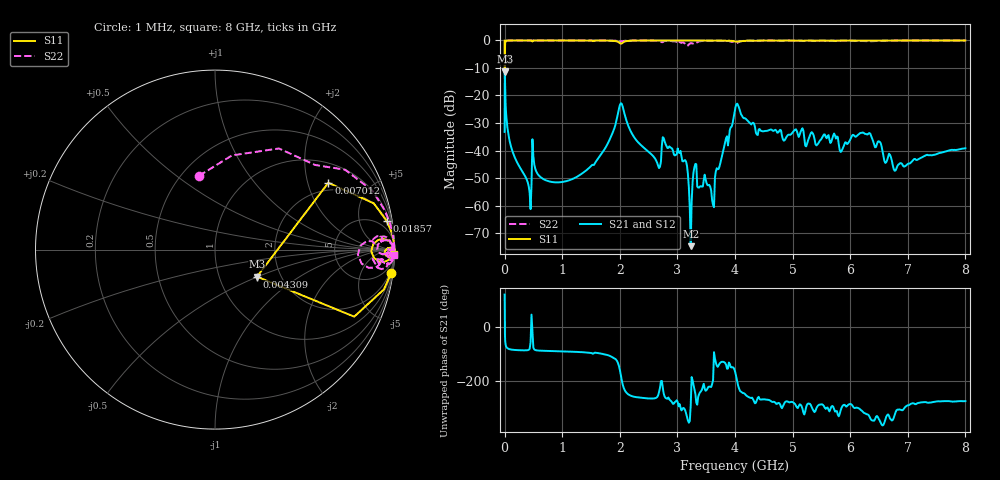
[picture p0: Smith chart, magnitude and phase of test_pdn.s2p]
# HZ S  RI R 1.000000e-01
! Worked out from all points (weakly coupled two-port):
!   500 points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, 1 MHz to 8 GHz, reference 0.1 ohm
!   highest |S21| = -11.52 dB at 4.309 MHz (marker M1); lowest = -74.8 dB at 3.232 GHz (marker M2)
!   lowest |S11| = -11.1 dB at 4.309 MHz (marker M3), VSWR 1.77, Z = 0.151 - j0.0496 ohm
!   |S11| at or under -10 dB: 4.122 MHz to 4.663 MHz (541.1 kHz wide, 12.3 % of centre)
!   |S22| runs from -7.5 to 0.0 dB; largest |S21 - S12| = 0
!   S11 on the Smith chart (normalised r, x): 1 MHz: 1, -15; 4.309 MHz: 1.51, -0.50; 7.012 MHz: 1.69, +2.71; 18.57 MHz: 2, +12; 8 GHz: 6, -85
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1000000  0.9813 -0.1306  -0.0108 0.0188  -0.0108 0.0188  -0.0887 0.4111
4308869  0.234 -0.1511  0.2138 0.1574  0.2138 0.1574  0.5573 0.4717
7011610  0.6315 0.3723  0.1753 -0.0925  0.1753 -0.0925  0.7254 0.4448
1.856636e7  0.9564 0.16  0.0267 -0.0625  0.0267 -0.0625  0.9465 0.2177
1.123265e8  0.9981 0.0266  0.00114 -0.0117  0.00114 -0.0117  0.9977 0.0379
4.355918e8  0.9993 -0.000603  0.00024 -0.00169  0.00024 -0.00169  0.9997 0.00427
5.164082e8  0.9986 0.00839  0.000556 -0.00552  0.000556 -0.00552  0.9995 0.00329
7.588571e8  0.9997 -0.00147  1.3e-05 -0.00278  1.3e-05 -0.00278  0.9997 -0.00348
1.340735e9  0.999 -0.0129  -0.000269 -0.00379  -0.000269 -0.00379  0.9993 -0.0151
2.019592e9  0.8703 -0.0087  -0.0726 0.000806  -0.0726 0.000806  0.9576 -0.0272
2.682286e9  0.9985 -0.0013  -0.00224 0.00424  -0.00224 0.00424  0.9725 -0.0781
2.763102e9  0.9969 -0.000842  -0.0062 0.0156  -0.0062 0.0156  0.9616 -0.0187
3.037878e9  0.9988 -0.00619  0.00261 0.00862  0.00261 0.00862  0.9374 -0.0562
3.15102e9  0.9989 -0.00791  0.00493 0.00393  0.00493 0.00393  0.8165 -0.0775
3.231837e9  0.9989 -0.0093  6.69e-05 0.00017  6.69e-05 0.00017  0.8861 0.0367
3.29649e9  0.9988 -0.0104  -0.00309 0.00393  -0.00309 0.00393  0.9042 0.0754
3.619755e9  0.9977 -0.0174  -0.000965 0.000342  -0.000965 0.000342  0.9796 -0.00324
4.007673e9  0.9514 -0.0315  -0.0597 -0.00922  -0.0597 -0.00922  0.9181 -0.0202
5.349224e9  0.9879 -0.0151  0.0123 0.0166  0.0123 0.0166  0.9861 -0.0138
6.31902e9  0.9891 -0.0143  0.0173 0.0108  0.0173 0.0108  0.969 -0.0177
6.674612e9  0.9931 -0.0124  0.00767 0.00421  0.00767 0.00421  0.9898 -0.00878
8e9  0.998 -0.0233  0.00118 0.0109  0.00118 0.0109  0.9984 -0.0273
